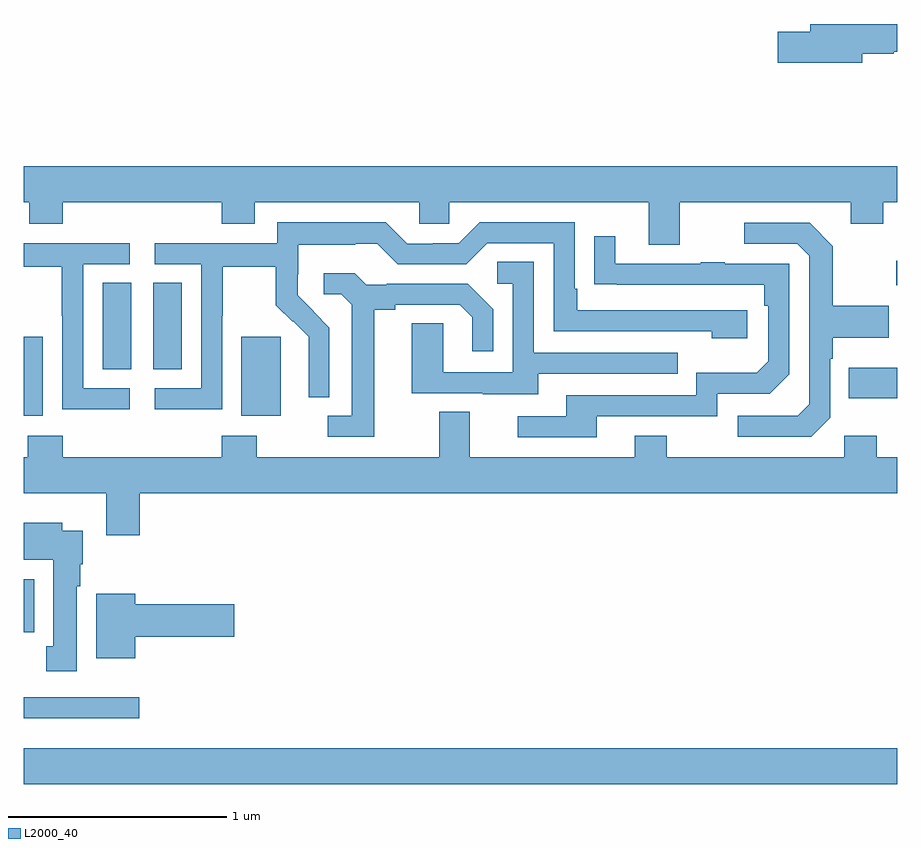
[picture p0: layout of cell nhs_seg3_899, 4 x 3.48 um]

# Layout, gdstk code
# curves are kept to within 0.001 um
import gdstk
lib = gdstk.Library(unit=1e-6, precision=1e-09)
def R(c, l, rs):  # rectangles x0, y0, x1, y1
    for r in rs: c.add(gdstk.rectangle(r[:2], r[2:], *l))
def P(c, l, *ps):  # polygons
    for p in ps: c.add(gdstk.Polygon(p, *l))
L2000_40 = (2000, 40)

nhs_seg3_899 = lib.new_cell('nhs_seg3_899')
R(nhs_seg3_899, L2000_40, [(157,716.9,161,717.064), (157,717.2,157.528,717.297), (157,717.596,157.048,717.838), (157,718.586,157.087,718.947), (157.997,718.586,158.176,718.947), (160.777,718.667,161,718.807), (157.361,718.798,157.492,719.195), (157.592,718.798,157.723,719.195), (160.995,719.183,161,719.296)])
P(nhs_seg3_899, L2000_40, [(160.84,720.244),(160.983,720.244),(160.983,720.252),(161,720.252),(161,720.38),(160.601,720.38),(160.601,720.344),(160.452,720.344),(160.452,720.202),(160.84,720.202)],
  [(160.003,719.564),(160.787,719.564),(160.787,719.465),(160.935,719.465),(160.935,719.564),(161,719.564),(161,719.728),(157,719.728),(157,719.564),(157.025,719.564),(157.025,719.465),(157.178,719.465),(157.178,719.564),(157.907,719.564),(157.907,719.465),(158.059,719.465),(158.059,719.564),(158.811,719.564),(158.811,719.466),(158.949,719.466),(158.949,719.564),(159.863,719.564),(159.863,719.37),(160.003,719.37)],
  [(157.908,719.044),(157.911,719.044),(157.911,719.268),(158.155,719.268),(158.155,719.093),(158.232,719.016),(158.235,719.019),(158.306,718.949),(158.306,718.826),(158.304,718.826),(158.304,718.672),(158.4,718.672),(158.4,718.99),(158.254,719.138),(158.254,719.235),(158.256,719.235),(158.256,719.369),(158.519,719.369),(158.519,719.373),(158.619,719.373),(158.712,719.28),(159.027,719.28),(159.123,719.376),(159.426,719.376),(159.426,718.974),(160.151,718.974),(160.151,718.94),(160.312,718.94),(160.312,719.07),(159.535,719.07),(159.535,719.167),(159.522,719.167),(159.522,719.472),(159.087,719.472),(158.991,719.376),(158.873,719.376),(158.873,719.373),(158.757,719.373),(158.657,719.473),(158.16,719.473),(158.16,719.376),(157.599,719.376),(157.599,719.28),(157.812,719.28),(157.812,718.713),(157.599,718.713),(157.599,718.615),(157.908,718.615)],
  [(160.692,718.578),(160.692,718.847),(160.705,718.847),(160.705,718.943),(160.961,718.943),(160.961,719.091),(160.705,719.091),(160.705,719.363),(160.599,719.469),(160.299,719.469),(160.299,719.373),(160.542,719.373),(160.596,719.319),(160.596,718.638),(160.545,718.587),(160.269,718.587),(160.269,718.491),(160.605,718.491)],
  [(159.625,718.584),(160.176,718.584),(160.176,718.686),(160.416,718.686),(160.506,718.776),(160.506,719.283),(160.211,719.283),(160.211,719.288),(160.099,719.288),(160.099,719.283),(159.709,719.283),(159.709,719.407),(159.613,719.407),(159.613,719.188),(160.39,719.187),(160.39,719.09),(160.41,719.09),(160.41,718.836),(160.357,718.783),(160.08,718.783),(160.08,718.68),(159.485,718.68),(159.485,718.584),(159.261,718.584),(159.261,718.488),(159.625,718.488)],
  [(157.486,718.713),(157.272,718.713),(157.272,719.28),(157.486,719.28),(157.486,719.376),(157,719.376),(157,719.268),(157.174,719.268),(157.174,719.044),(157.176,719.044),(157.176,718.615),(157.486,718.615)],
  [(159.355,718.779),(159.995,718.779),(159.995,718.875),(159.336,718.875),(159.336,719.291),(159.168,719.291),(159.168,719.19),(159.24,719.19),(159.24,718.785),(158.922,718.785),(158.922,719.009),(158.777,719.009),(158.777,718.689),(159.101,718.689),(159.101,718.685),(159.355,718.685)],
  [(158.605,719.072),(158.701,719.072),(158.701,719.094),(158.996,719.094),(159.053,719.037),(159.053,718.881),(159.15,718.881),(159.15,719.074),(159.034,719.19),(158.662,719.19),(158.662,719.187),(158.568,719.187),(158.516,719.239),(158.373,719.239),(158.373,719.142),(158.454,719.142),(158.501,719.095),(158.501,718.587),(158.391,718.587),(158.391,718.491),(158.605,718.491)],
  [(157.532,718.232),(161,718.232),(161,718.396),(160.905,718.396),(160.905,718.495),(160.758,718.495),(160.758,718.396),(159.945,718.396),(159.945,718.495),(159.797,718.495),(159.797,718.396),(159.043,718.396),(159.043,718.604),(158.903,718.604),(158.903,718.396),(158.067,718.396),(158.067,718.495),(157.907,718.495),(157.907,718.396),(157.178,718.396),(157.178,718.495),(157.018,718.495),(157.018,718.396),(157,718.396),(157,718.232),(157.379,718.232),(157.379,718.038),(157.532,718.038)],
  [(157.243,717.806),(157.258,717.806),(157.258,717.906),(157.27,717.906),(157.27,718.06),(157.177,718.06),(157.177,718.096),(157,718.096),(157,717.926),(157.136,717.926),(157.136,717.53),(157.103,717.53),(157.103,717.417),(157.243,717.417)],
  [(157.51,717.575),(157.963,717.575),(157.963,717.722),(157.51,717.722),(157.51,717.772),(157.331,717.772),(157.331,717.476),(157.51,717.476)])

lib.write_gds('nhs_seg3_899.gds')
